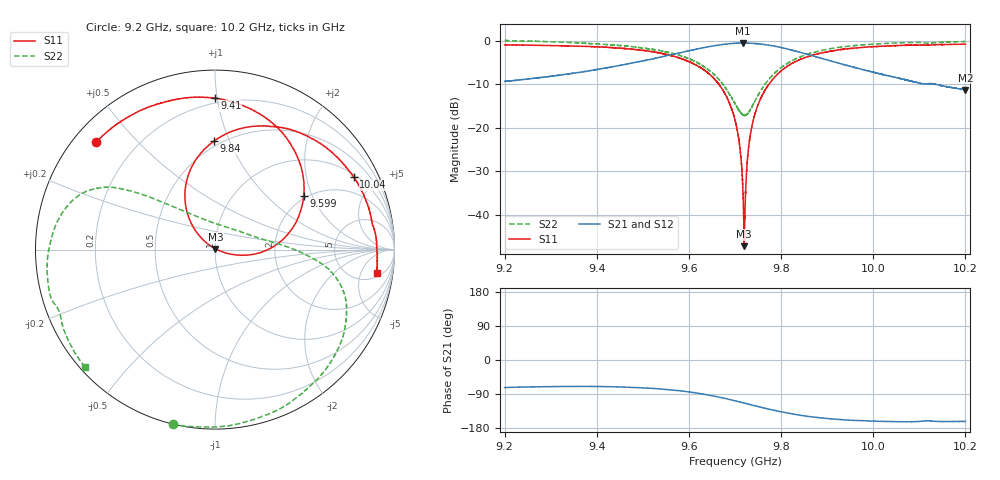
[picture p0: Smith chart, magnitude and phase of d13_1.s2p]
!Agilent Technologies,N5242A,MY51221714,A.09.90.19
!Agilent N5242A: A.09.90.19
!Date: Tuesday, March 26, 2024 16:34:46
!Correction: S11(Full 2 Port(1,2))
!S21(Full 2 Port(1,2))
!S12(Full 2 Port(1,2))
!S22(Full 2 Port(1,2))
!S2P File: Measurements: S11, S21, S12, S22:
# Hz S  dB  R 50
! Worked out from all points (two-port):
!   16001 points, 9.2 GHz to 10.2 GHz, reference 50 ohm
!   highest |S21| = -0.54 dB at 9.718 GHz (marker M1); lowest = -11.3 dB at 10.2 GHz (marker M2)
!   |S21| within 3 dB of the highest: 9.5481 GHz to 9.548128 GHz (27.86 kHz wide, 0.000292 % of centre); 9.549 GHz to 9.87 GHz (321.5 MHz wide, 3.31 % of centre)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
!   lowest |S11| = -47.2 dB at 9.72 GHz (marker M3), VSWR 1.01, Z = 50.2 + j0.362 ohm
!   |S11| at or under -10 dB: 9.664674 GHz to 9.664701 GHz (27.44 kHz wide, 0.000284 % of centre); 9.665 GHz to 9.774 GHz (108.7 MHz wide, 1.12 % of centre)
!   |S22| runs from -17.2 to 0.0 dB; largest |S21 - S12| = 0.013
!   S11 on the Smith chart (normalised r, x): 9.2 GHz: 0.06, +0.38; 9.41 GHz: 0.17, +0.98; 9.599 GHz: 1.92, +1.74; 9.84 GHz: 0.46, +0.88; 10.04 GHz: 1.11, +3.76; 10.2 GHz: 6, -10
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9.2e9  -0.98 137.9  -9.36 -72.7  -9.33 -73.3  0.02 -103.6
9.366688e9  -1.30 101.0  -7.21 -69.7  -7.20 -70.3  -0.58 -58.9
9.410375e9  -1.47 90.2  -6.44 -70.1  -6.44 -70.8  -0.82 -47.8
9.533375e9  -2.80 54.8  -3.92 -75.9  -3.90 -76.5  -2.21 -20.3
9.598625e9  -4.76 31.3  -2.36 -84.0  -2.36 -84.6  -4.10 -8.9
9.663062e9  -9.76 2.7  -1.04 -97.4  -1.04 -98.0  -8.66 4.1
9.7e9  -18.23 -14.2  -0.61 -107.7  -0.60 -108.2  -14.42 29.0
9.710438e9  -24.47 -17.0  -0.57 -110.8  -0.56 -111.4  -16.27 46.6
9.717688e9  -35.61 -9.3  -0.54 -113.0  -0.54 -113.6  -17.04 63.5
9.720125e9  -47.18 55.4  -0.56 -113.8  -0.55 -114.3  -17.18 69.8
9.723062e9  -34.43 135.7  -0.56 -114.6  -0.54 -115.2  -17.09 77.5
9.72775e9  -26.31 141.6  -0.57 -116.1  -0.56 -116.7  -16.70 89.3
9.732875e9  -21.89 141.4  -0.60 -117.6  -0.57 -118.3  -15.91 100.6
9.751062e9  -14.43 132.5  -0.72 -123.1  -0.72 -123.8  -12.33 124.4
9.787375e9  -8.23 115.1  -1.30 -133.4  -1.30 -134.1  -7.31 139.7
9.840375e9  -4.38 90.7  -2.66 -145.5  -2.66 -146.1  -3.78 147.8
9.866688e9  -3.40 80.1  -3.44 -150.1  -3.44 -150.6  -2.83 151.4
9.934938e9  -1.99 56.4  -5.47 -157.7  -5.47 -158.3  -1.43 162.2
1.003338e10  -1.22 29.0  -8.10 -162.3  -8.09 -163.0  -0.62 -178.0
1.003888e10  -1.19 27.6  -8.21 -162.4  -8.22 -163.0  -0.59 -176.8
1.019988e10  -0.84 -8.3  -11.31 -162.0  -11.29 -162.6  -0.22 -137.9
1.02e10  -0.81 -8.4  -11.29 -162.0  -11.30 -162.6  -0.22 -137.9
